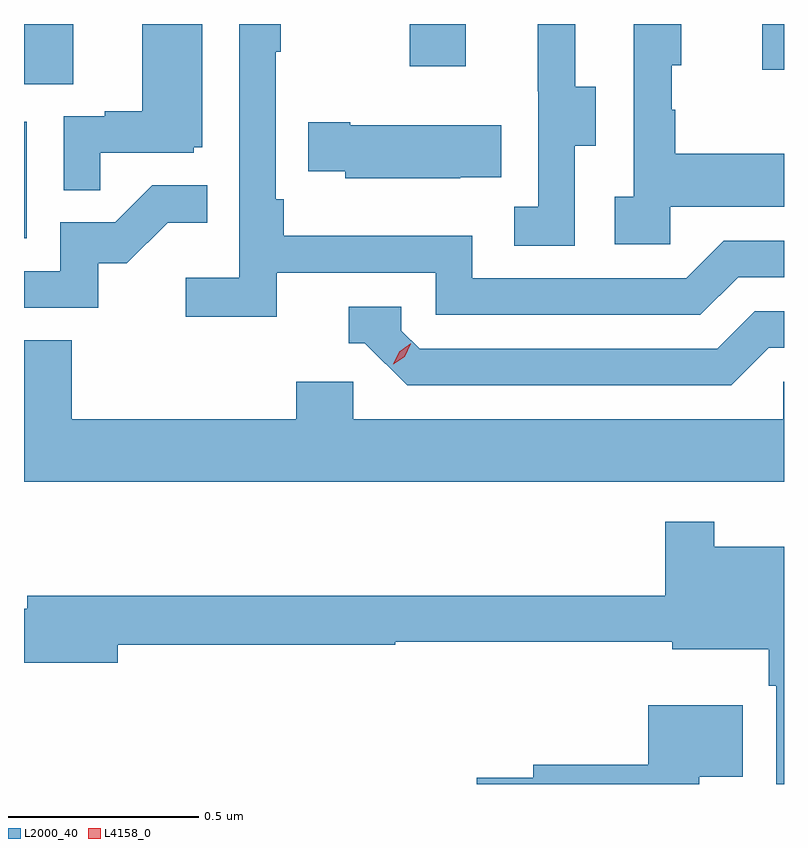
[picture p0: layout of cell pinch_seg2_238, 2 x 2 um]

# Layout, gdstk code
import gdstk
lib = gdstk.Library(unit=1e-6, precision=1e-09)
def R(c, l, rs):  # rectangles x0, y0, x1, y1
    for r in rs: c.add(gdstk.rectangle(r[:2], r[2:], *l))
def P(c, l, *ps):  # polygons
    for p in ps: c.add(gdstk.Polygon(p, *l))
L2000_40 = (2000, 40)
L4158_0 = (4158, 0)

pinch_seg2_238 = lib.new_cell('pinch_seg2_238')
R(pinch_seg2_238, L2000_40, [(908.955,656.268,908.962,656.575), (908.955,656.674,909.085,656.832), (910.898,656.712,910.955,656.832), (909.97,656.721,910.117,656.832)])
P(pinch_seg2_238, L2000_40, [(909.62,656.178),(910.038,656.178),(910.038,656.067),(910.735,656.067),(910.834,656.166),(910.955,656.166),(910.955,656.262),(910.797,656.262),(910.698,656.163),(910.134,656.163),(910.134,656.275),(909.638,656.275),(909.638,656.371),(909.618,656.371),(909.618,656.759),(909.631,656.759),(909.631,656.832),(909.522,656.832),(909.522,656.164),(909.381,656.164),(909.381,656.062),(909.62,656.062)],
  [(909.155,656.493),(909.402,656.493),(909.402,656.508),(909.424,656.508),(909.424,656.832),(909.266,656.832),(909.266,656.602),(909.167,656.602),(909.167,656.589),(909.06,656.589),(909.06,656.395),(909.155,656.395)],
  [(910.404,656.512),(910.459,656.512),(910.459,656.667),(910.405,656.667),(910.405,656.832),(910.307,656.832),(910.307,656.655),(910.308,656.655),(910.308,656.351),(910.245,656.351),(910.245,656.248),(910.404,656.248)],
  [(910.656,656.351),(910.955,656.351),(910.955,656.491),(910.669,656.491),(910.669,656.606),(910.659,656.606),(910.659,656.724),(910.684,656.724),(910.684,656.832),(910.56,656.832),(910.56,656.378),(910.509,656.378),(910.509,656.253),(910.656,656.253)],
  [(910.103,656.429),(910.211,656.429),(910.211,656.566),(909.814,656.566),(909.814,656.574),(909.703,656.574),(909.703,656.444),(909.801,656.444),(909.801,656.426),(910.103,656.426)],
  [(909.15,656.202),(909.226,656.202),(909.333,656.309),(909.437,656.309),(909.437,656.408),(909.293,656.408),(909.195,656.31),(909.051,656.31),(909.051,656.181),(908.955,656.181),(908.955,656.085),(909.15,656.085)],
  [(910.915,655.98),(910.955,655.98),(910.955,656.076),(910.878,656.076),(910.779,655.977),(909.996,655.977),(909.948,656.025),(909.948,656.088),(909.809,656.088),(909.809,655.992),(909.852,655.992),(909.963,655.881),(910.816,655.881)],
  [(910.955,655.89),(910.953,655.89),(910.953,655.792),(909.822,655.792),(909.822,655.89),(909.671,655.89),(909.671,655.792),(909.08,655.792),(909.08,656),(908.955,656),(908.955,655.628),(910.955,655.628)],
  [(910.955,655.456),(910.771,655.456),(910.771,655.522),(910.642,655.522),(910.642,655.327),(908.963,655.327),(908.963,655.293),(908.955,655.293),(908.955,655.151),(909.202,655.151),(909.202,655.198),(909.932,655.198),(909.932,655.206),(910.661,655.206),(910.661,655.187),(910.915,655.187),(910.915,655.091),(910.935,655.091),(910.935,654.832),(910.955,654.832)],
  [(910.732,654.851),(910.846,654.851),(910.846,655.039),(910.598,655.039),(910.598,654.883),(910.295,654.883),(910.295,654.849),(910.146,654.849),(910.146,654.832),(910.732,654.832)])
P(pinch_seg2_238, L4158_0, [(909.927,655.937),(909.927,655.937),(909.942,655.97),(909.972,655.991),(909.973,655.991),(909.973,655.99),(909.957,655.957),(909.927,655.937)])

lib.write_gds('pinch_seg2_238.gds')
